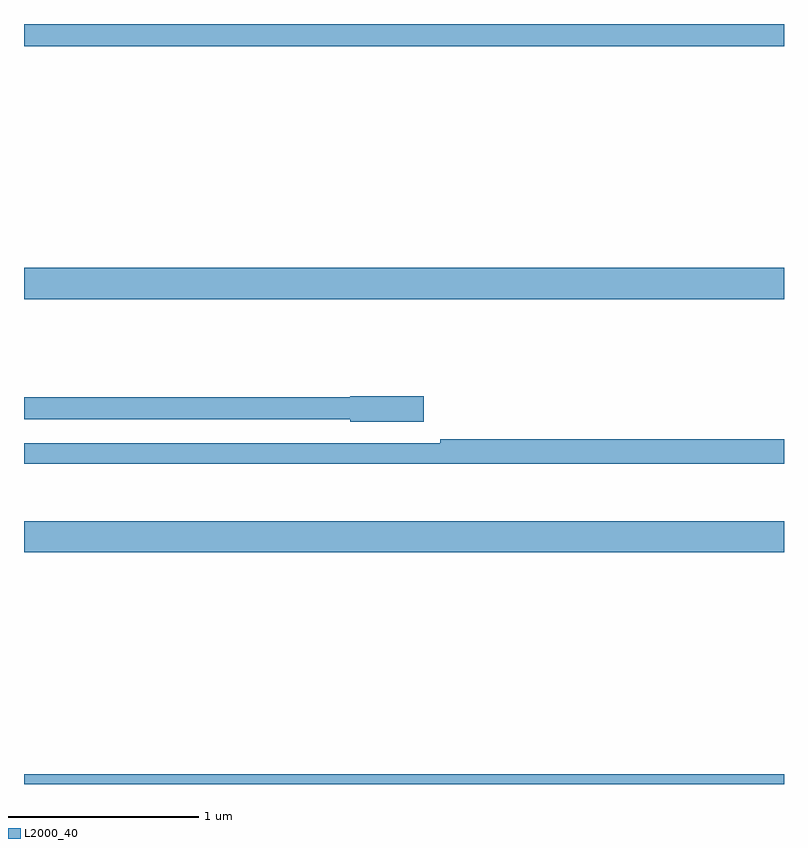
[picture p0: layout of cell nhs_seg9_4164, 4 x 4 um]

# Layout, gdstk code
import gdstk
lib = gdstk.Library(unit=1e-6, precision=1e-09)
def R(c, l, rs):  # rectangles x0, y0, x1, y1
    for r in rs: c.add(gdstk.rectangle(r[:2], r[2:], *l))
def P(c, l, *ps):  # polygons
    for p in ps: c.add(gdstk.Polygon(p, *l))
L2000_40 = (2000, 40)

nhs_seg9_4164 = lib.new_cell('nhs_seg9_4164')
R(nhs_seg9_4164, L2000_40, [(349,1228.5,353,1228.552), (349,1229.72,353,1229.884), (349,1231.052,353,1231.216), (349,1232.384,353,1232.5)])
P(nhs_seg9_4164, L2000_40, [(351.103,1230.542),(350.718,1230.542),(350.718,1230.536),(349,1230.536),(349,1230.42),(350.718,1230.42),(350.718,1230.407),(351.103,1230.407)],
  [(353,1230.314),(351.19,1230.314),(351.19,1230.294),(349,1230.294),(349,1230.186),(353,1230.186)])

lib.write_gds('nhs_seg9_4164.gds')
